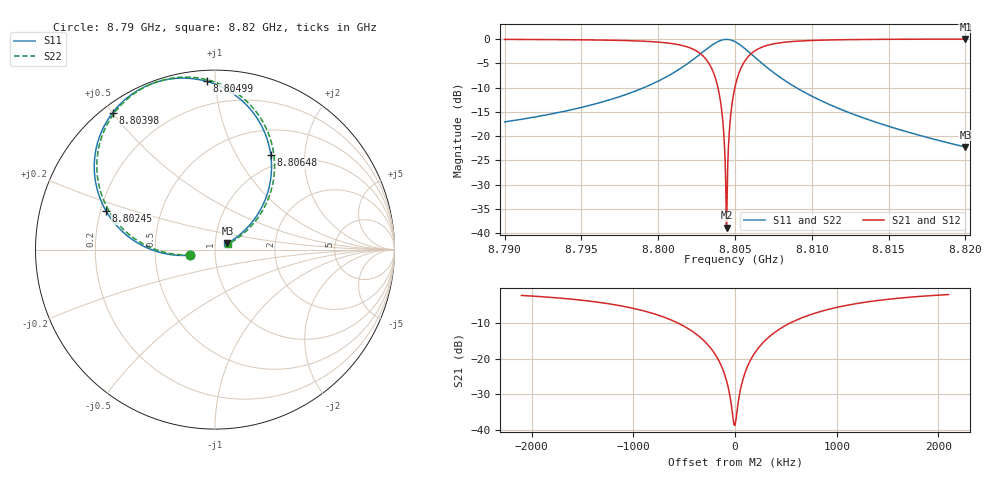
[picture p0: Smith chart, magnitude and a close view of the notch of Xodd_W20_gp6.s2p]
! Sonnet Data File
! From: emgraph Version : 16.52
! From Project: Qubit_Xmon2
! Data is De-embedded
! Data File Written: 10/18/2017 11:36:08
!< HDATE 10/18/2017 10:24:37
!< MDATE 10/18/2017 10:24:37
!< PARAMS
!< Lj = 11.0
!< Gap = 6.0
!< Pwid = 2000.0
!< Airgap = 12.0
!< Width = 20.0
!< END PARAMS
# GHZ S MA R 40.13000
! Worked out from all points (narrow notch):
!   3001 points, 8.79 GHz to 8.82 GHz, reference 40.13 ohm
!   highest |S21| = -0.03 dB at 8.82 GHz (marker M1); lowest = -38.8 dB at 8.80445 GHz (marker M2)
!   notch at M2: 38.6 dB deep, 350 kHz wide at half that depth
!   lowest |S11| = -22.3 dB at 8.82 GHz (marker M3), VSWR 1.17, Z = 46 + j3.18 ohm
!   |S11| at or under -10 dB: start of sweep to 8.799085 GHz; 8.808976 GHz to end of sweep
!   |S22| runs from -22.3 to -0.1 dB; largest |S21 - S12| = 0
!   S11 on the Smith chart (normalised r, x): 8.79 GHz: 0.76, -0.05; 8.80245 GHz: 0.22, +0.16; 8.80398 GHz: 0.03, +0.50; 8.80499 GHz: 0.06, +0.95; 8.80648 GHz: 0.83, +1.40; 8.82 GHz: 1.15, +0.08
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8.79  0.14 -167.4  0.99 -77.7  0.99 -77.7  0.14 -168.2
!< P1 F=8.79 Eeff=(4.99688633 -5.9225e-5) Z0=(38.486563 -1.2923e-4) R=0.0 C=0.0
!< P2 F=8.79 Eeff=(4.99688633 -5.9225e-5) Z0=(38.486563 -1.2923e-4) R=0.0 C=0.0
8.795  0.1974 -170.6  0.98 -81.1  0.98 -81.1  0.1974 -171.8
8.8  0.3682 179.2  0.9283 -91.4  0.9283 -91.4  0.3682 177.7
8.80144  0.4961 171.0  0.8654 -99.5  0.8654 -99.5  0.4961 169.3
8.80245  0.6444 160.4  0.7589 -109.9  0.7589 -109.9  0.6444 158.7
8.8034  0.8407 142.9  0.5271 -127.0  0.5271 -127.0  0.8407 141.1
8.80398  0.9527 126.7  0.2688 -142.0  0.2688 -142.0  0.9526 124.9
8.80417  0.9757 120.5  0.1638 -146.6  0.1638 -146.6  0.9756 118.7
8.80424  0.9814 118.2  0.1233 -147.6  0.1233 -147.6  0.9814 116.3
8.80435  0.9873 114.4  0.05869 -145.6  0.05869 -145.6  0.9872 112.6
8.80445  0.9889 111.0  0.01143 -57.2  0.01143 -57.2  0.9888 109.1
8.80455  0.9869 107.5  0.06381 6.5  0.06381 6.5  0.9868 105.7
8.80465  0.9813 104.1  0.1232 8.0  0.1232 8.0  0.9813 102.2
8.80474  0.9734 101.0  0.1759 6.5  0.1759 6.5  0.9734 99.1
8.80499  0.9385 92.8  0.3147 -0.1  0.3147 -0.1  0.9385 90.9
8.805  0.9367 92.5  0.3199 -0.4  0.3199 -0.4  0.9367 90.6
8.80557  0.8131 76.5  0.5687 -15.4  0.5687 -15.4  0.8131 74.6
8.80648  0.6111 59.4  0.7858 -32.1  0.7858 -32.1  0.6111 57.4
8.80791  0.4058 45.5  0.9117 -45.9  0.9117 -45.9  0.4058 43.3
8.81  0.2578 36.5  0.9652 -54.9  0.9652 -54.9  0.2578 34.1
8.815  0.1262 29.0  0.9917 -62.6  0.9917 -62.6  0.1262 26.0
8.82  0.07711 26.5  0.9969 -65.5  0.9969 -65.5  0.0771 22.7
